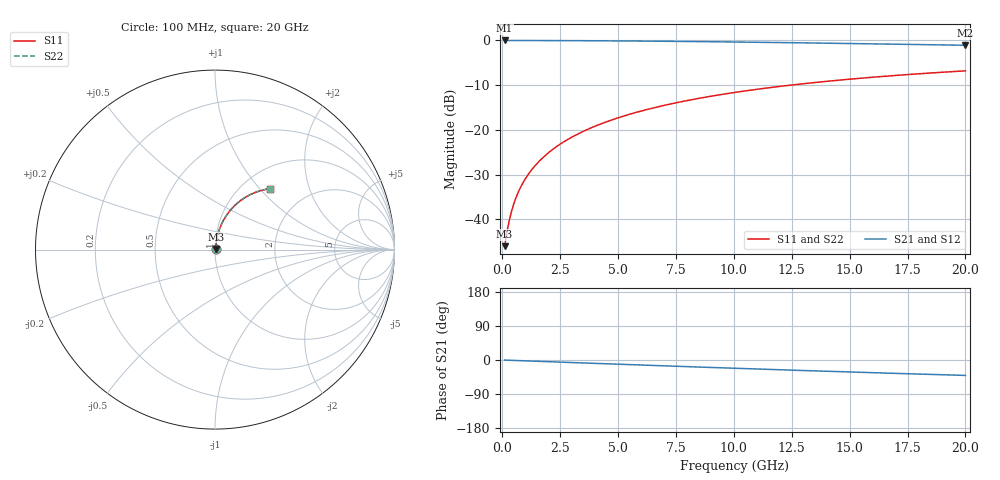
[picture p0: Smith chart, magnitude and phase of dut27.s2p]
! Touchstone file exported from HFSS 2026.1.0
!  File:  C:/ffzhzh/LocalFiles/Ansys_Project_Files/temp_train_TMRDL_27_1782880481_43084.aedt
!  Generated:  12:35:58 PM Jul  1, 2026
!  Design:  TMRDL
!  Project:  temp_train_TMRDL_27_1782880481_43084
! Variables:
!  h_bsmrdl = 2um
!  h_ox = 20um
!  h_rdl = 5um
!  h_sub = 80um
!  h_tmrdl = 2.59um
!  h_tsv = 80um
!  h_via = 3um
!  l_bsmrdl = 300um
!  l_sub = 912.94um
!  l_tmrdl = 512.94um
!  m_sub = 200um
!  pitch = 58.09um
!  r_tsv = 6um
!  s_tmrdl = 10um
!  w_bsmrdl = 18um
!  w_sub = 500um
!  w_tmrdl = 18.1um
!  x_tsv_center1 = 521.99um
!  x_tsv_center2 = 839.99um
!  x_tsv_center3 = 1371.03um
!  x_tsv_center4 = 1689.03um
!  x_tsv_center5 = 2220.07um
!  x_tsv_center6 = 2538.07um
# GHz S MA R 50.000000
! Terminal data exported
! Port[1] = TM_RDL1_1_T1
! Port[2] = TM_RDL1_1_T2
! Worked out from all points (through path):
!   200 points, 100 MHz to 20 GHz, reference 50 ohm
!   highest |S21| = -0.04 dB at 100 MHz (marker M1); lowest = -1.1 dB at 20 GHz (marker M2)
!   group delay of S21, straight-line fit = 5.67 ps
!   lowest |S11| = -46.0 dB at 100 MHz (marker M3), VSWR 1.01, Z = 50.4 + j0.294 ohm
!   |S11| at or under -10 dB: start of sweep to 12.48 GHz
!   |S22| runs from -46.0 to -6.8 dB; largest |S21 - S12| = 3.4e-15
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0.1  0.005018 35.5  0.9959 -0.2  0.9959 -0.2  0.005018 35.5
! Gamma 0 0 0 0
! Port Impedance 50 0 50 0
0.2  0.00716 54.1  0.9958 -0.5  0.9958 -0.5  0.00716 54.1
0.3  0.009687 63.3  0.9957 -0.7  0.9957 -0.7  0.009687 63.3
0.4  0.01233 68.4  0.9956 -0.9  0.9956 -0.9  0.01233 68.4
0.5  0.01501 71.5  0.9954 -1.2  0.9954 -1.2  0.01501 71.5
0.6  0.0177 73.7  0.9953 -1.4  0.9953 -1.4  0.0177 73.7
0.8  0.02309 76.3  0.995 -1.8  0.995 -1.8  0.02309 76.4
1.1  0.03119 78.5  0.9946 -2.5  0.9946 -2.5  0.03119 78.5
1.5  0.04203 79.7  0.9941 -3.4  0.9941 -3.4  0.04203 79.7
1.8  0.05018 80.1  0.9937 -4.1  0.9937 -4.1  0.05017 80.1
2.1  0.05833 80.2  0.9931 -4.7  0.9931 -4.7  0.05833 80.2
2.7  0.07461 79.9  0.9919 -6.1  0.9919 -6.1  0.07461 79.9
3.5  0.09621 78.9  0.9899 -7.8  0.9899 -7.8  0.09621 78.9
4.2  0.115 77.8  0.9877 -9.4  0.9877 -9.4  0.115 77.8
5  0.1361 76.4  0.9848 -11.1  0.9848 -11.1  0.1361 76.4
5.9  0.1596 74.7  0.981 -13.1  0.981 -13.1  0.1596 74.7
6.8  0.1827 72.9  0.9767 -15.0  0.9767 -15.0  0.1827 72.9
8.3  0.2201 69.9  0.9684 -18.2  0.9684 -18.2  0.2201 70.0
10.1  0.263 66.3  0.9571 -22.0  0.9571 -22.0  0.263 66.4
13.4  0.3356 59.9  0.9333 -28.6  0.9333 -28.6  0.3356 60.0
16.7  0.3999 53.8  0.907 -34.8  0.907 -34.8  0.3999 53.9
20  0.4559 48.0  0.8799 -40.7  0.8799 -40.7  0.4558 48.1
